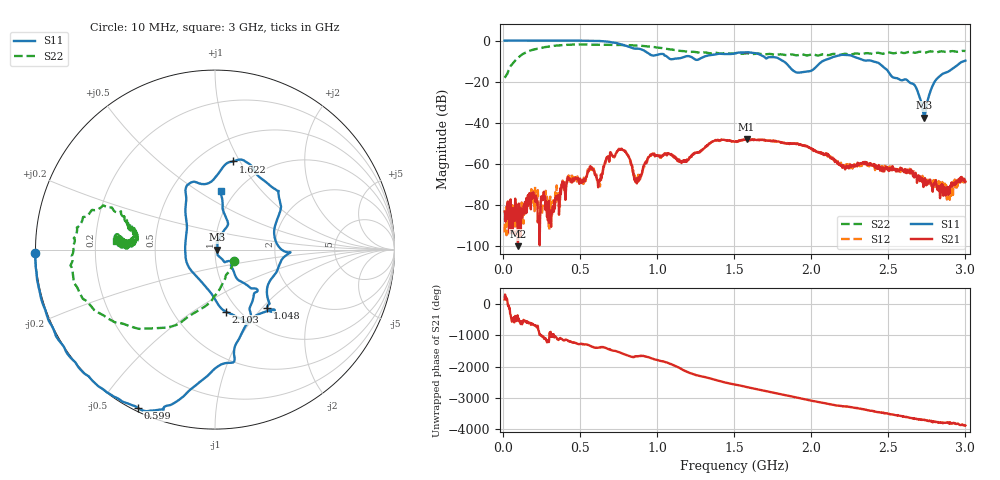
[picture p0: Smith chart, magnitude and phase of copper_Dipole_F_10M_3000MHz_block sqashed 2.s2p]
!  08/05/2026  14:46:47
! Ref Plane: 0.000 mm
# MHZ S MA R  50
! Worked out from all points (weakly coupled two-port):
!   1001 points, 10 MHz to 3 GHz, reference 50 ohm
!   highest |S21| = -47.98 dB at 1.58 GHz (marker M1); lowest = -100.0 dB at 96.71 MHz (marker M2)
!   lowest |S11| = -37.5 dB at 2.734 GHz (marker M3), VSWR 1.03, Z = 51.4 + j0.0419 ohm
!   |S11| at or under -10 dB: 1.819 GHz to 2.074 GHz (254.4 MHz wide, 13.1 % of centre); 2.397 GHz to 2.99 GHz (592.4 MHz wide, 22 % of centre)
!   |S22| runs from -18.0 to -1.8 dB; largest |S21 - S12| = 0.00027
!   S11 on the Smith chart (normalised r, x): 10 MHz: -0.00, -0.01; 599 MHz: 0.01, -0.63; 1.048 GHz: 1.33, -1.06; 1.622 GHz: 0.71, +0.93; 2.103 GHz: 0.87, -0.69; 3 GHz: 0.86, +0.62
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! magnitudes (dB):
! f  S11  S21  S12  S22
! 10 MHz  0.0  -83.1  -93.3  -18.0
! 96.71 MHz  0.0  -100.0  -88.1  -8.4
! 315 MHz  0.0  -84.4  -84.6  -2.7
! 431.6 MHz  0.0  -67.2  -67.4  -2.0
! 509.3 MHz  0.0  -68.9  -68.3  -1.9
! 599 MHz  -0.2  -65.5  -64.6  -2.0
! 625.9 MHz  -0.2  -68.4  -69.6  -2.0
! 757.5 MHz  -1.6  -53.0  -52.8  -2.1
! 868.1 MHz  -3.9  -69.5  -67.2  -2.4
! 1.009 GHz  -6.7  -56.2  -56.0  -3.5
! 1.048 GHz  -7.3  -55.3  -54.8  -3.9
! 1.17 GHz  -8.0  -58.9  -58.3  -5.1
! 1.505 GHz  -6.2  -49.1  -49.3  -6.1
! 1.58 GHz  -5.6  -48.0  -48.2  -6.2
! 1.622 GHz  -6.0  -48.3  -48.2  -6.5
! 2.004 GHz  -14.5  -53.0  -52.6  -6.7
! 2.103 GHz  -9.1  -55.0  -56.0  -7.0
! 2.504 GHz  -15.5  -63.4  -62.9  -5.8
! 2.668 GHz  -21.4  -66.6  -64.4  -5.9
! 2.734 GHz  -37.5  -67.1  -67.8  -5.8
! 2.812 GHz  -18.9  -70.2  -69.7  -5.7
! 3 GHz  -9.7  -68.6  -69.0  -5.1
